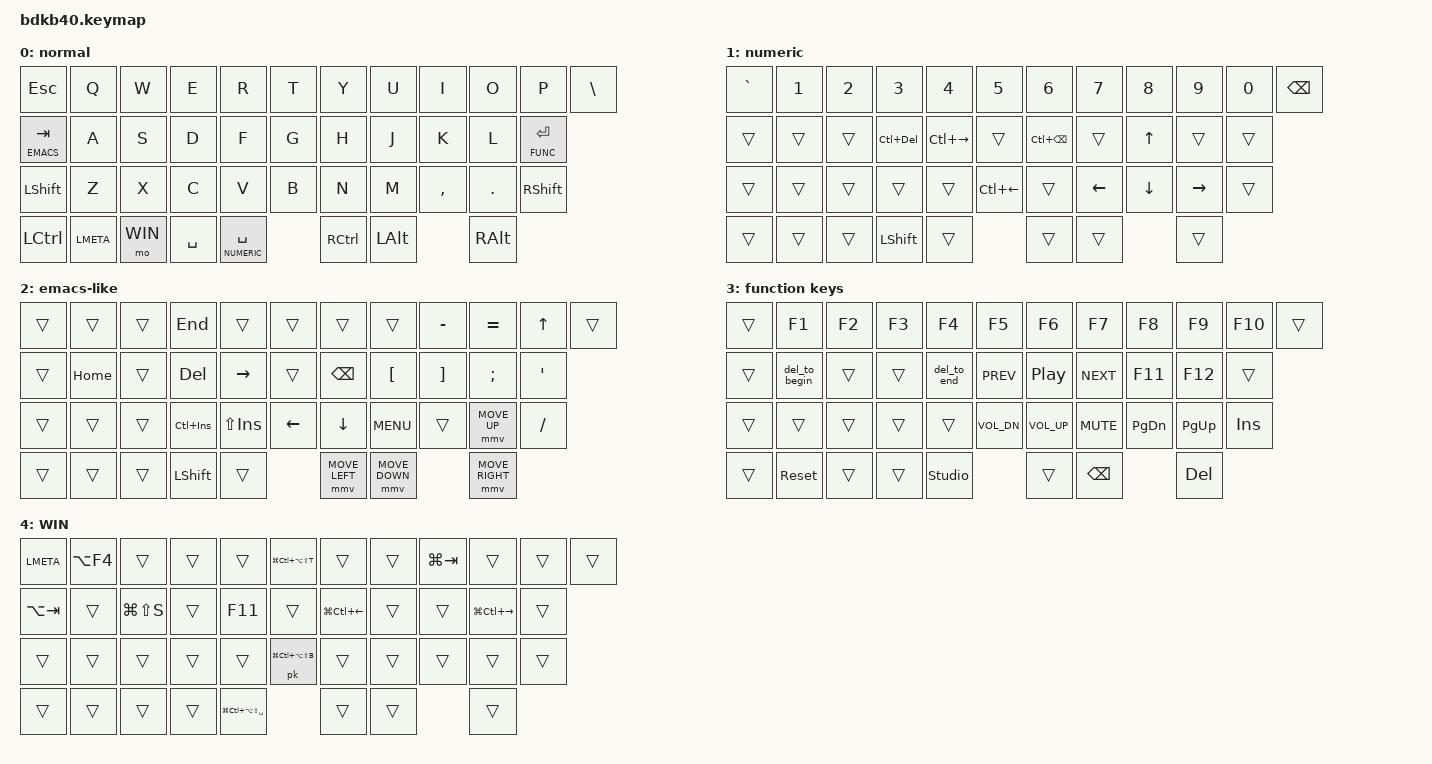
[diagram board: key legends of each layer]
// This file was generated from a template. Edit it to match your keyboard.
// See https://zmk.dev/docs/development/hardware-integration/new-shield for more instructions.

#include <behaviors.dtsi>
#include <dt-bindings/zmk/keys.h>
#include <dt-bindings/zmk/pointing.h>

#define NORM     0
#define NUMERIC  1
#define EMACS    2
#define FUNC     3
#define WIN      4

&lt {
    flavor = "hold-preferred";
    tapping-term-ms = <200>;
    quick-tap-ms = <220>;
    retro-tap;
};

/ {
    // Define a default keymap here.
    // See https://zmk.dev/docs/development/hardware-integration/new-shield#default-keymap.

    behaviors {
        lt_rpt: layer_tap_repeat {
            compatible = "zmk,behavior-hold-tap";
            #binding-cells = <2>;
            flavor = "hold-preferred";
            tapping-term-ms = <200>;
            quick-tap-ms = <220>;
            retro-tap;
            bindings = <&mo>, <&kp>;
        };
    };

    macros {
        del_to_begin: del_to_begin {
            compatible = "zmk,behavior-macro";
            #binding-cells = <0>;
            bindings = <&kp LS(HOME) &kp DELETE>;
            label = "DEL_TO_BEGIN";
        };

        del_to_end: del_to_end {
            compatible = "zmk,behavior-macro";
            #binding-cells = <0>;
            bindings = <&kp LS(END) &kp DELETE>;
            label = "DEL_TO_END";
        };
    };

    keymap {
        compatible = "zmk,keymap";

        NORM {
            display-name = "normal";

            // ------------------------------------------------------------------------------------------------------------
            // | ESC |  Q  |  W  |  E  |  R  |  T  |  Y  |  U  |  I  |  O  |  P  |BSPC |
            // |  CAPS |  A  |  S  |  D  |  F  |  G  |  H  |  J  |  K  |  L  |    \    |
            // |  SHIFT  |  Z  |  X  |  C  |  V  |  B  |  N  |  M  |  ,  |  .  | SHIFT |
            // |  CTRL |LMETA|  ALT  |   SPACE   |     SPACE     | Raise |RMETA|  CTRL |

            bindings = <
                &kp ESC             &kp Q      &kp W      &kp E      &kp R       &kp T      &kp Y      &kp U  &kp I      &kp O    &kp P     &kp BSLH
                &lt_rpt EMACS TAB   &kp A      &kp S      &kp D      &kp F       &kp G      &kp H      &kp J  &kp K      &kp L    &lt_rpt FUNC ENTER
                &kp LSHIFT          &kp Z      &kp X      &kp C      &kp V       &kp B      &kp N      &kp M  &kp COMMA  &kp DOT  &kp RSHIFT
                &kp LCTRL           &kp LMETA  &mo WIN    &kp SPACE  &lt_rpt NUMERIC SPACE  &kp RCTRL  &kp LALT          &kp RALT
            >;
        };

        NUMERIC {
            display-name = "numeric";

            // ------------------------------------------------------------------------------------------------------------
            // | ESC |  Q  |  W  |  E  |  R  |  T  |  Y  |  U  |  I  |  O  |  P  |BSPC |
            // |  CAPS |  A  |  S  |  D  |  F  |  G  |  H  |  J  |  K  |  L  |    \    |
            // |  SHIFT  |  Z  |  X  |  C  |  V  |  B  |  N  |  M  |  ,  |  .  | SHIFT |
            // |  CTRL |LMETA|  ALT  |   SPACE   |     SPACE     | Raise |RMETA|  CTRL |

            bindings = <
                &kp GRAVE  &kp N1  &kp N2  &kp N3          &kp N4         &kp N5        &kp N6        &kp N7    &kp N8    &kp N9     &kp N0  &kp BSPC
                &trans     &trans  &trans  &kp LC(DEL)     &kp LC(RIGHT)  &trans        &kp LC(BSPC)  &trans    &kp UP    &trans     &trans
                &trans     &trans  &trans  &trans          &trans         &kp LC(LEFT)  &trans        &kp LEFT  &kp DOWN  &kp RIGHT  &trans
                &trans     &trans  &trans  &kp LEFT_SHIFT  &trans         &trans        &trans        &trans
            >;
        };

        EMACS {
            display-name = "emacs-like";

            bindings = <
                &trans  &trans    &trans  &kp END         &trans          &trans          &trans          &trans           &kp MINUS  &kp EQUAL     &kp UP    &trans
                &trans  &kp HOME  &trans  &kp DEL         &kp RIGHT       &trans          &kp BSPC        &kp LBKT         &kp RBKT   &kp SEMI      &kp APOS
                &trans  &trans    &trans  &kp LC(INSERT)  &kp LS(INSERT)  &kp LEFT        &kp DOWN        &kp C_MENU       &trans     &mmv MOVE_UP  &kp FSLH
                &trans  &trans    &trans  &kp LSHFT       &trans          &mmv MOVE_LEFT  &mmv MOVE_DOWN  &mmv MOVE_RIGHT
            >;
        };

        FUNC {
            display-name = "function keys";

            bindings = <
                &trans  &kp F1          &kp F2      &kp F3  &kp F4          &kp F5        &kp F6           &kp F7      &kp F8     &kp F9     &kp F10  &trans
                &trans  &del_to_begin   &trans      &trans  &del_to_end     &kp C_PREV    &kp C_PP         &kp C_NEXT  &kp F11    &kp F12    &trans
                &trans  &trans          &trans      &trans  &trans          &kp C_VOL_DN  &kp C_VOLUME_UP  &kp K_MUTE  &kp PG_DN  &kp PG_UP  &kp INSERT
                &trans  &sys_reset      &trans      &trans  &studio_unlock  &trans        &kp BSPC         &kp DEL
            >;
        };

        WIN {
            display-name = "WIN";

            bindings = <
                &kp LMETA   &kp LA(F4) &trans        &trans &trans  &kp LG(LC(LA(LS(T)))) &trans           &trans &kp LG(TAB) &trans            &trans &trans
                &kp LA(TAB) &trans     &kp LG(LS(S)) &trans &kp F11 &trans                &kp LG(LC(LEFT)) &trans &trans      &kp LG(LC(RIGHT)) &trans
                &trans      &trans     &trans        &trans &trans  &pk LG(LC(LA(LS(B)))) &trans           &trans &trans      &trans            &trans
                &trans      &trans     &trans        &trans &kp LG(LC(LA(LS(SPACE))))                             &trans      &trans            &trans
            >;
        };
    };
};
